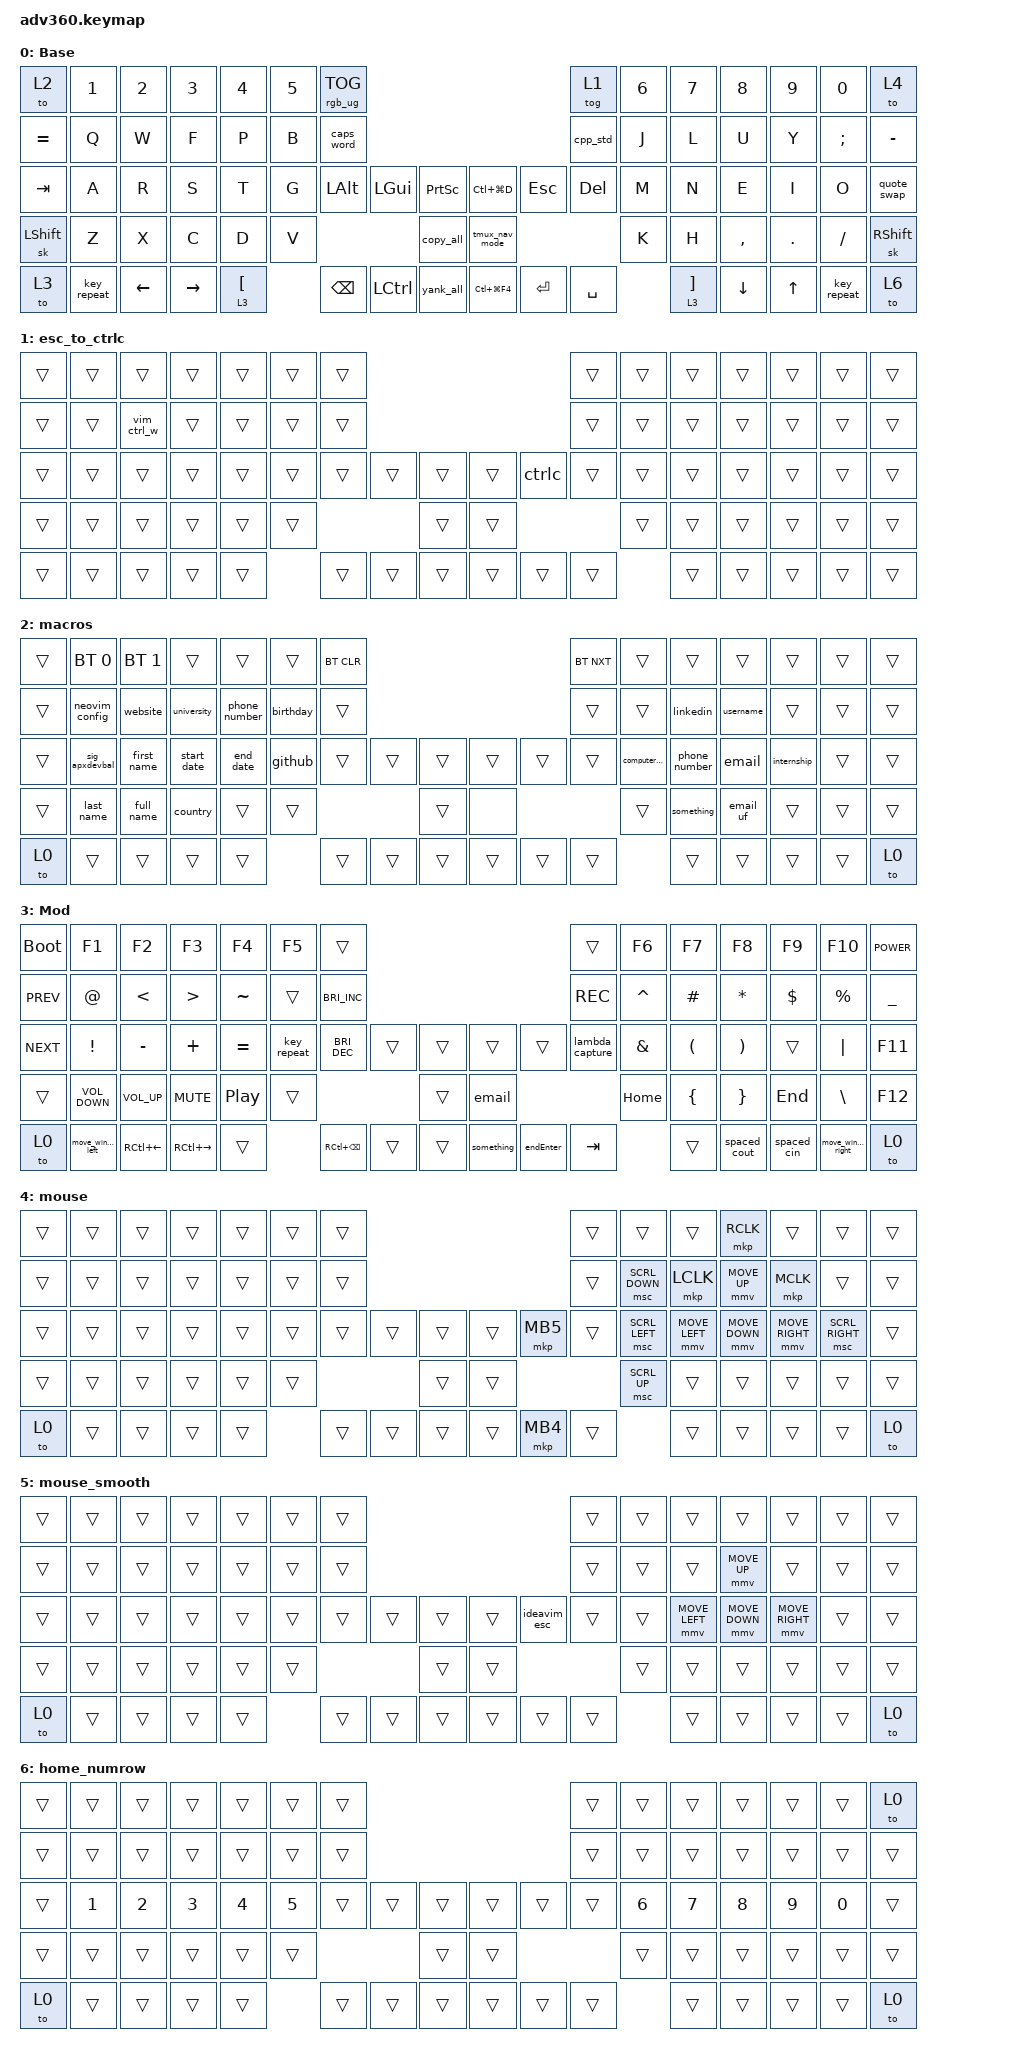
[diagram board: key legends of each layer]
#include <dt-bindings/zmk/stp.h>
#include <behaviors.dtsi>
#include <dt-bindings/zmk/bt.h>
#include <dt-bindings/zmk/keys.h>
#include <dt-bindings/zmk/pointing.h>
#include <dt-bindings/zmk/rgb.h>

/ {
    behaviors {
        #include "macros.dtsi"
      #include "version.dtsi"

        layertapLeftBracket: layertapLeftBracket {
            compatible = "zmk,behavior-hold-tap";
            label = "LAYERTAPLEFTBRACKET";
            #binding-cells = <2>;
            tapping-term-ms = <120>;
            flavor = "hold-preferred";
            bindings = <&mo>, <&kp>;

            hold-trigger-key-positions = <23 24 25 26 40 41 42 44 55 56 58 70 69 38 22 37 38 53 68 69 72 73 27 45 59 57 39 54>;
        };

        quote_swap: quote_swap {
            compatible = "zmk,behavior-mod-morph";
            label = "QUOTE_SWAP";
            bindings = <&kp DOUBLE_QUOTES>, <&kp SQT>;

            #binding-cells = <0>;
            mods = <(MOD_LSFT|MOD_RSFT)>;
        };

        layertapRightBracket: layertapRightBracket {
            compatible = "zmk,behavior-hold-tap";
            label = "LAYERTAPRIGHTBRACKET";
            #binding-cells = <2>;
            tapping-term-ms = <120>;
            flavor = "hold-preferred";
            bindings = <&mo>, <&kp>;

            hold-trigger-key-positions = <65 15 16 17 18 19 29 30 31 32 33 47 48 49 50 51 35 66 35 36 52 66 67 62 14 15 16 17 18 19 28 29 30 31 32 33 35 36 46 47 48 49 50 51 52 62 65 66 67 63 61 64>;
        };

        layer_tap_ctrl_enter: layer_tap_ctrl_enter {
            compatible = "zmk,behavior-hold-tap";
            label = "LAYER_TAP_CTRL_ENTER";
            #binding-cells = <2>;
            tapping-term-ms = <120>;
            flavor = "hold-preferred";
            bindings = <&kp>, <&kp>;

            hold-trigger-key-positions = <65 15 16 17 18 19 29 30 31 32 33 47 48 49 50 51 35 66 35 36 52 66 67 62 14 15 16 17 18 19 28 29 30 31 32 33 35 36 46 47 48 49 50 51 52 62 65 66 67 63 61 64>;
        };

        n_morphed: n_morphed {
            compatible = "zmk,behavior-mod-morph";
            label = "N_MORPHED";
            bindings = <&kp N>, <&tmux_left>;

            #binding-cells = <0>;
            mods = <(MOD_LGUI|MOD_RGUI)>;
        };

        e_morphed: e_morphed {
            compatible = "zmk,behavior-mod-morph";
            label = "E_MORPHED";
            bindings = <&kp E>, <&tmux_right>;

            #binding-cells = <0>;
            mods = <(MOD_LGUI|MOD_RGUI)>;
        };

        vim_ctrl_w: vim_ctrl_w {
            compatible = "zmk,behavior-mod-morph";
            label = "VIM_CTRL_W";
            bindings = <&kp W>, <&kp LC(BACKSPACE)>;

            #binding-cells = <0>;
            mods = <(MOD_LCTL|MOD_RCTL)>;
        };
    };

    macros {
        alttab: alttab {
            compatible = "zmk,behavior-macro";
            #binding-cells = <0>;
            bindings =
                <&macro_press>,
                <&kp LEFT_ALT>,
                <&macro_tap>,
                <&kp TAB>,
                <&macro_release>,
                <&kp LEFT_ALT>;

            label = "ALTTAB";
        };

        powertoys: powertoys {
            compatible = "zmk,behavior-macro";
            #binding-cells = <0>;
            bindings =
                <&macro_press>,
                <&kp LEFT_ALT &kp RIGHT_WIN &kp SPACE>,
                <&macro_release>,
                <&kp LEFT_ALT &kp RIGHT_WIN &kp SPACE>;

            label = "POWERTOYS";
        };

        email: email {
            compatible = "zmk,behavior-macro";
            #binding-cells = <0>;
            bindings =
                <&macro_tap>,
                <&kp R &kp I &kp C &kp K &kp Y &kp Z &kp H &kp A &kp N &kp G &kp N1 &kp N9 &kp N6 &kp AT &kp O &kp U &kp T &kp L &kp O &kp O &kp K &kp DOT &kp C &kp O &kp M>;

            label = "EMAIL";
        };

        yank_all: copyall {
            compatible = "zmk,behavior-macro";
            #binding-cells = <0>;
            bindings = <&kp G &kp O &kp LS(V) &kp LS(G)>;
            label = "COPYALL";
        };

        printscreen: printscreen {
            compatible = "zmk,behavior-macro";
            #binding-cells = <0>;
            bindings = <&macro_tap>, <&kp PRINTSCREEN>;

            label = "PRINTSCREEN";
        };

        linkedin: linkedin {
            compatible = "zmk,behavior-macro";
            #binding-cells = <0>;
            bindings = <&kp H &kp T &kp T &kp P &kp S &kp COLON &kp FSLH &kp FSLH &kp W &kp W &kp W &kp DOT &kp L &kp I &kp N &kp K &kp E &kp D &kp I &kp N &kp DOT &kp C &kp O &kp M &kp FSLH &kp I &kp N &kp FSLH &kp T &kp H &kp E &kp R &kp I &kp C &kp K &kp Y &kp Z &kp H &kp A &kp N &kp G &kp FSLH>;
            label = "LINKEDIN";
        };

        university: university {
            compatible = "zmk,behavior-macro";
            #binding-cells = <0>;
            bindings = <&kp LS(U) &kp N &kp I &kp V &kp E &kp R &kp S &kp I &kp T &kp Y &kp SPACE &kp O &kp F &kp SPACE &kp LS(F) &kp L &kp O &kp R &kp I &kp D &kp A>;
            label = "UNIVERSITY";
        };

        github: github {
            compatible = "zmk,behavior-macro";
            #binding-cells = <0>;
            bindings = <&kp H &kp T &kp T &kp P &kp S &kp COLON &kp FSLH &kp FSLH &kp G &kp I &kp T &kp H &kp U &kp B &kp DOT &kp C &kp O &kp M &kp FSLH &kp T &kp H &kp E &kp R &kp I &kp C &kp K &kp Y &kp Z &kp H &kp A &kp N &kp G>;
            label = "GITHUB";
        };

        full_name: full_name {
            compatible = "zmk,behavior-macro";
            #binding-cells = <0>;
            bindings = <&kp LS(R) &kp I &kp C &kp K &kp Y &kp SPACE &kp LS(Z) &kp H &kp A &kp N &kp G>;
            label = "FULL_NAME";
        };

        first_name: first_name {
            compatible = "zmk,behavior-macro";
            #binding-cells = <0>;
            bindings = <&kp LS(R) &kp I &kp C &kp K &kp Y>;
            label = "FIRST_NAME";
        };

        last_name: last_name {
            compatible = "zmk,behavior-macro";
            #binding-cells = <0>;
            bindings = <&kp LS(Z) &kp H &kp A &kp N &kp G>;
            label = "LAST_NAME";
        };

        start_date: start_date {
            compatible = "zmk,behavior-macro";
            #binding-cells = <0>;
            bindings = <&kp N0 &kp N8 &kp FSLH &kp N2 &kp N0 &kp N2 &kp N3>;
            label = "START_DATE";
        };

        end_date: end_date {
            compatible = "zmk,behavior-macro";
            #binding-cells = <0>;
            bindings = <&kp N0 &kp N5 &kp FSLH &kp N2 &kp N0 &kp N2 &kp N7>;
            label = "END_DATE";
        };

        website: website {
            compatible = "zmk,behavior-macro";
            #binding-cells = <0>;
            bindings = <&kp H &kp T &kp T &kp P &kp S &kp COLON &kp FSLH &kp FSLH &kp T &kp H &kp E &kp R &kp I &kp C &kp K &kp Y &kp Z &kp H &kp A &kp N &kp G &kp DOT &kp C &kp O &kp M>;
            label = "WEBSITE";
        };

        cpp_template: cpp_template {
            compatible = "zmk,behavior-macro";
            #binding-cells = <0>;
            bindings = <&kp POUND &kp D &kp E &kp F &kp I &kp N &kp E &kp SPACE &kp F &kp LPAR &kp I &kp COMMA &kp SPACE &kp N &kp RPAR &kp SPACE &kp F &kp O &kp R &kp LPAR &kp I &kp N &kp T &kp SPACE &kp I &kp SPACE &kp EQUAL &kp SPACE &kp N0 &kp SEMI &kp SPACE &kp I &kp SPACE &kp LT &kp SPACE &kp N &kp SEMI &kp SPACE &kp I &kp PLUS &kp PLUS &kp RPAR &kp RET &kp T &kp E &kp M &kp P &kp L &kp A &kp T &kp E &kp LT &kp T &kp Y &kp P &kp E &kp N &kp A &kp M &kp E &kp SPACE &kp LS(T) &kp GT &kp SPACE &kp U &kp S &kp I &kp N &kp G &kp SPACE &kp V &kp SPACE &kp EQUAL &kp SPACE &kp V &kp E &kp C &kp T &kp O &kp R &kp LT &kp LS(T) &kp GT &kp SEMI &kp RET &kp U &kp S &kp I &kp N &kp G &kp SPACE &kp L &kp L &kp SPACE &kp EQUAL &kp SPACE &kp L &kp O &kp N &kp G &kp SPACE &kp L &kp O &kp N &kp G &kp SEMI &kp RET &kp U &kp S &kp I &kp N &kp G &kp SPACE &kp P &kp I &kp I &kp SPACE &kp EQUAL &kp SPACE &kp P &kp A &kp I &kp R &kp LT &kp I &kp N &kp T &kp COMMA &kp I &kp N &kp T &kp GT &kp SEMI &kp RET &kp U &kp S &kp I &kp N &kp G &kp SPACE &kp S &kp T &kp R &kp SPACE &kp EQUAL &kp SPACE &kp S &kp T &kp R &kp I &kp N &kp G &kp SEMI>;
            label = "CPP_TEMPLATE";
        };

        neovim_config: neovim_config {
            compatible = "zmk,behavior-macro";
            #binding-cells = <0>;
            bindings = <&kp TILDE &kp FSLH &kp DOT &kp C &kp O &kp N &kp F &kp I &kp G &kp FSLH &kp N &kp V &kp I &kp M &kp FSLH &kp L &kp U &kp A>;
            label = "NEOVIM_CONFIG";
        };

        something: something {
            compatible = "zmk,behavior-macro";
            #binding-cells = <0>;
            bindings = <&kp LS(H) &kp Y &kp P &kp E &kp R &kp I &kp O &kp S &kp N1 &kp N9 &kp N6 &kp DLLR>;
            label = "SOMETHING";
        };

        computerscience: computerscience {
            compatible = "zmk,behavior-macro";
            #binding-cells = <0>;
            bindings = <&kp LS(C) &kp O &kp M &kp P &kp U &kp T &kp E &kp R &kp SPACE &kp LS(S) &kp C &kp I &kp E &kp N &kp C &kp E>;
            label = "COMPUTERSCIENCE";
        };

        ctrlc: ctrlc {
            compatible = "zmk,behavior-macro";
            #binding-cells = <0>;
            bindings =
                <&macro_press>,
                <&kp LCTRL>,
                <&macro_tap>,
                <&kp C>,
                <&macro_release>,
                <&kp LCTRL>;

            label = "CTRLC";
        };

        endEnter: endEnter {
            compatible = "zmk,behavior-macro";
            #binding-cells = <0>;
            bindings = <&none>;
            label = "ENDENTER";
        };

        playMacro: defaultMacro {
            compatible = "zmk,behavior-macro";
            #binding-cells = <0>;
            bindings = <&kp AT &kp P>;
            label = "DEFAULTMACRO";
        };

        username: username {
            compatible = "zmk,behavior-macro";
            #binding-cells = <0>;
            bindings = <&kp LS(T) &kp H &kp E &kp LS(R) &kp I &kp C &kp K &kp Y &kp LS(Z) &kp H &kp A &kp N &kp G>;
            label = "USERNAME";
        };

        somethingagain: somethingagain {
            compatible = "zmk,behavior-macro";
            #binding-cells = <0>;
            bindings = <&kp LS(V) &kp N1 &kp P &kp N3 &kp R &kp N6 &kp N9 &kp N1 &kp DLLR>;
            label = "SOMETHINGAGAIN";
        };

        recordMacro: recordMacro {
            compatible = "zmk,behavior-macro";
            #binding-cells = <0>;
            bindings = <&kp Q &kp P>;
            label = "RECORDMACRO";
        };

        birthday: birthday {
            compatible = "zmk,behavior-macro";
            #binding-cells = <0>;
            bindings = <&kp N0 &kp N2 &kp FSLH &kp N0 &kp N9 &kp FSLH &kp N2 &kp N0 &kp N0 &kp N5>;
            label = "BIRTHDAY";
        };

        internship: internship {
            compatible = "zmk,behavior-macro";
            #binding-cells = <0>;
            bindings = <&kp LS(S) &kp U &kp S &kp Q &kp U &kp E &kp H &kp A &kp N &kp N &kp A &kp SPACE &kp LS(I) &kp N &kp T &kp E &kp R &kp N &kp A &kp T &kp I &kp O &kp N &kp A &kp L &kp SPACE &kp LS(G) &kp R &kp O &kp U &kp P>;
            label = "INTERNSHIP";
        };

        phone_number: phone_number {
            compatible = "zmk,behavior-macro";
            #binding-cells = <0>;
            bindings = <&kp N9 &kp N0 &kp N4 &kp N3 &kp N4 &kp N2 &kp N9 &kp N1 &kp N7 &kp N0>;
            label = "PHONE_NUMBER";
        };

        country: country {
            compatible = "zmk,behavior-macro";
            #binding-cells = <0>;
            bindings = <&kp LS(U) &kp N &kp I &kp T &kp E &kp D &kp SPACE &kp LS(S) &kp T &kp A &kp T &kp E &kp S>;
            label = "COUNTRY";
        };

        ideavim_esc: ideavim_esc {
            compatible = "zmk,behavior-macro";
            #binding-cells = <0>;
            bindings =
                <&macro_press>,
                <&kp LCTRL>,
                <&macro_tap>,
                <&kp C>,
                <&macro_release>,
                <&kp LCTRL>,
                <&macro_wait_time 120>,
                <&kp ESCAPE>;

            label = "IDEAVIM_ESC";
        };

        tmux_nav_mode: tmux_nav_mode {
            compatible = "zmk,behavior-macro";
            #binding-cells = <0>;
            bindings =
                <&macro_press>,
                <&kp LCTRL &kp SPACE>,
                <&macro_release>,
                <&kp LCTRL &kp SPACE>,
                <&macro_tap>,
                <&kp LEFT_BRACKET>;

            label = "TMUX_NAV_MODE";
        };

        email_uf: email_uf {
            compatible = "zmk,behavior-macro";
            #binding-cells = <0>;
            bindings =
                <&macro_tap>,
                <&kp R &kp I &kp C &kp K &kp Y &kp Z &kp H &kp A &kp N &kp G &kp AT &kp U &kp F &kp L &kp DOT &kp E &kp D &kp U>;

            label = "EMAIL_UF";
        };

        lambda_capture: lambda_capture {
            compatible = "zmk,behavior-macro";
            #binding-cells = <0>;
            bindings = <&kp LEFT_BRACKET &kp AMPS &kp RBKT>;
            label = "LAMBDA_CAPTURE";
        };

        spaced_cin: mouse_back {
            compatible = "zmk,behavior-macro";
            #binding-cells = <0>;
            bindings = <&kp SPACE &kp GT &kp GT &kp SPACE>;
            label = "MOUSE_BACK";
        };

        spaced_cout: spaced_cout {
            compatible = "zmk,behavior-macro";
            #binding-cells = <0>;
            bindings = <&kp SPACE &kp LT &kp LT &kp SPACE>;
            label = "SPACED_COUT";
        };

        move_window_right: move_screen_right {
            compatible = "zmk,behavior-macro";
            #binding-cells = <0>;
            bindings =
                <&macro_press>,
                <&kp LEFT_WIN &kp LEFT_SHIFT &kp RIGHT>,
                <&macro_release>,
                <&kp LGUI &kp LEFT_SHIFT &kp RIGHT>;

            label = "MOVE_SCREEN_RIGHT";
        };

        move_window_left: move_window_right {
            compatible = "zmk,behavior-macro";
            #binding-cells = <0>;
            bindings =
                <&macro_press>,
                <&kp LEFT_WIN &kp LEFT_SHIFT &kp LEFT>,
                <&macro_release>,
                <&kp LGUI &kp LEFT_SHIFT &kp LEFT>;

            label = "MOVE_WINDOW_RIGHT";
        };

        omarchy_alt_tab: omarchy_alt_tab {
            compatible = "zmk,behavior-macro";
            #binding-cells = <0>;
            bindings =
                <&macro_press>,
                <&kp LEFT_WIN &kp LCTRL>,
                <&macro_tap>,
                <&kp TAB>,
                <&macro_release>,
                <&kp LEFT_WIN &kp LCTRL>;

            label = "OMARCHY_ALT_TAB";
        };

        cpp_std: cpp_std {
            compatible = "zmk,behavior-macro";
            #binding-cells = <0>;
            bindings = <&kp S &kp T &kp D &kp COLON &kp COLON>;
            label = "CPP_STD";
        };

        copy_all: copy {
            compatible = "zmk,behavior-macro";
            #binding-cells = <0>;
            bindings =
                <&macro_press>,
                <&kp LCTRL>,
                <&macro_tap>,
                <&kp A &kp C>,
                <&macro_release>,
                <&kp LCTRL>,
                <&macro_press>;

            label = "COPY";
        };

        paste: paste {
            compatible = "zmk,behavior-macro";
            #binding-cells = <0>;
            bindings =
                <&macro_press>,
                <&kp LCTRL &kp LSHIFT>,
                <&macro_tap>,
                <&kp V>,
                <&macro_release>,
                <&kp LCTRL &kp LSHIFT>;

            label = "PASTE";
        };

        sig_apxdevbal: sig_apxdevbal {
            compatible = "zmk,behavior-macro";
            #binding-cells = <0>;
            bindings = <&kp Z &kp H &kp A &kp N &kp G &kp R &kp I &kp AT &kp A &kp P &kp X &kp D &kp E &kp V &kp B &kp A &kp L &kp N9 &kp N3 &kp N4 &kp N0>;
            label = "SIG_APXDEVBAL";
        };

        tmux_left: tmux_left {
            compatible = "zmk,behavior-macro";
            #binding-cells = <0>;
            bindings =
                <&macro_tap>,
                <&kp LCTRL>,
                <&macro_release>,
                <&kp SPACE &kp LEFT>;

            label = "TMUX_LEFT";
        };

        tmux_right: tmux_right {
            compatible = "zmk,behavior-macro";
            #binding-cells = <0>;
            bindings =
                <&macro_tap>,
                <&kp LCTRL>,
                <&macro_release>,
                <&kp SPACE &kp RIGHT>;

            label = "TMUX_RIGHT";
        };
    };

    combos {
        compatible = "zmk,combos";

        key_repeat_left {
            bindings = <&key_repeat>;
            key-positions = <>;
        };

        layer2 {
            bindings = <&mo 2>;
            key-positions = <46 59>;
        };

        key_repeat_right {
            bindings = <&key_repeat>;
            key-positions = <>;
        };

        backtick {
            bindings = <&kp GRAVE>;
            key-positions = <55 56>;
            layers = <0>;
        };

        layer-mouse {
            bindings = <&mo 4>;
            key-positions = <48 50>;
        };

        quick-tab-switch {
            bindings = <&omarchy_alt_tab>;
            key-positions = <17 18>;
        };

        omarchy-switch-window {
            bindings = <&alttab>;
            key-positions = <16 17>;
        };

        win-left-workspace {
            bindings = <&kp LG(LC(LEFT))>;
            key-positions = <35 41>;
        };

        win_right_workspace {
            bindings = <&kp LG(LC(RIGHT))>;
            key-positions = <35 42>;
        };

        vscode {
            bindings = <&kp F5>;
            key-positions = <18 16>;
        };
    };

    keymap {
        compatible = "zmk,keymap";

        default_layer {
            display-name = "Base";
            bindings = <
&to 2      &kp N1       &kp N2    &kp N3     &kp N4                               &kp N5  &rgb_ug RGB_TOG                                                              &tog 1     &kp N6  &kp N7                                 &kp N8     &kp N9        &kp N0         &to 4
&kp EQUAL  &kp Q        &kp W     &kp F      &kp P                                &kp B   &caps_word                                                                   &cpp_std   &kp J   &kp L                                  &kp U      &kp Y         &kp SEMICOLON  &kp MINUS
&kp TAB    &kp A        &kp R     &kp S      &kp T                                &kp G   &kp LEFT_ALT     &kp LGUI   &kp PRINTSCREEN      &kp LC(LG(D))   &kp ESCAPE  &kp DEL    &kp M   &kp N                                  &kp E      &kp I         &kp O          &quote_swap
&sk LSHFT  &kp Z        &kp X     &kp C      &kp D                                &kp V                               &copy_all            &tmux_nav_mode                         &kp K   &kp H                                  &kp COMMA  &kp DOT       &kp FSLH       &sk RSHFT
&to 3      &key_repeat  &kp LEFT  &kp RIGHT  &layertapLeftBracket 3 LEFT_BRACKET          &kp BACKSPACE    &kp LCTRL  &yank_all            &kp LC(LG(F4))  &kp ENTER   &kp SPACE          &layertapRightBracket 3 RIGHT_BRACKET  &kp DOWN   &kp UP_ARROW  &key_repeat    &to 6
            >;
        };

        esc_to_ctrlc {
            bindings = <
&trans  &trans  &trans       &trans  &trans  &trans  &trans                                      &trans  &trans  &trans  &trans  &trans  &trans  &trans
&trans  &trans  &vim_ctrl_w  &trans  &trans  &trans  &trans                                      &trans  &trans  &trans  &trans  &trans  &trans  &trans
&trans  &trans  &trans       &trans  &trans  &trans  &trans  &trans  &trans      &trans  &ctrlc  &trans  &trans  &trans  &trans  &trans  &trans  &trans
&trans  &trans  &trans       &trans  &trans  &trans                  &trans      &trans                  &trans  &trans  &trans  &trans  &trans  &trans
&trans  &trans  &trans       &trans  &trans          &trans  &trans  &trans      &trans  &trans  &trans          &trans  &trans  &trans  &trans  &trans
            >;
        };

        macros {
            bindings = <
&trans  &bt BT_SEL 0    &bt BT_SEL 1  &trans       &trans         &trans     &bt BT_CLR                                      &bt BT_NXT  &trans            &trans         &trans     &trans       &trans  &trans
&trans  &neovim_config  &website      &university  &phone_number  &birthday  &trans                                          &trans      &trans            &linkedin      &username  &trans       &trans  &trans
&trans  &sig_apxdevbal  &first_name   &start_date  &end_date      &github    &trans      &trans  &trans      &trans  &trans  &trans      &computerscience  &phone_number  &email     &internship  &trans  &trans
&trans  &last_name      &full_name    &country     &trans         &trans                         &trans      &none                       &trans            &something     &email_uf  &trans       &trans  &trans
&to 0   &trans          &trans        &trans       &trans                    &trans      &trans  &trans      &trans  &trans  &trans                        &trans         &trans     &trans       &trans  &to 0
            >;
        };

        mod {
            display-name = "Mod";
            bindings = <
&bootloader  &kp F1             &kp F2           &kp F3            &kp F4     &kp F5       &trans                                                           &trans           &kp F6         &kp F7                &kp F8                 &kp F9       &kp F10             &kp C_POWER
&kp C_PREV   &kp AT             &kp LESS_THAN    &kp GREATER_THAN  &kp TILDE  &trans       &kp C_BRIGHTNESS_INC                                             &kp C_REC        &kp CARET      &kp HASH              &kp ASTERISK           &kp DOLLAR   &kp PERCENT         &kp UNDERSCORE
&kp C_NEXT   &kp EXCLAMATION    &kp MINUS        &kp PLUS          &kp EQUAL  &key_repeat  &kp C_BRI_DEC         &trans  &trans      &trans      &trans     &lambda_capture  &kp AMPERSAND  &kp LEFT_PARENTHESIS  &kp RIGHT_PARENTHESIS  &trans       &kp PIPE            &kp F11
&trans       &kp C_VOLUME_DOWN  &kp C_VOLUME_UP  &kp C_MUTE        &kp C_PP   &trans                                     &trans      &email                                  &kp HOME       &kp LEFT_BRACE        &kp RIGHT_BRACE        &kp END      &kp BACKSLASH       &kp F12
&to 0        &move_window_left  &kp RC(LEFT)     &kp RC(RIGHT)     &trans                  &kp RC(BACKSPACE)     &trans  &trans      &something  &endEnter  &kp TAB                         &trans                &spaced_cout           &spaced_cin  &move_window_right  &to 0
            >;
        };

        mouse {
            bindings = <
&trans  &trans  &trans  &trans  &trans  &trans  &trans                                        &trans  &trans          &trans          &mkp RCLK       &trans           &trans           &trans
&trans  &trans  &trans  &trans  &trans  &trans  &trans                                        &trans  &msc SCRL_DOWN  &mkp LCLK       &mmv MOVE_UP    &mkp MCLK        &trans           &trans
&trans  &trans  &trans  &trans  &trans  &trans  &trans  &trans  &trans      &trans  &mkp MB5  &trans  &msc SCRL_LEFT  &mmv MOVE_LEFT  &mmv MOVE_DOWN  &mmv MOVE_RIGHT  &msc SCRL_RIGHT  &trans
&trans  &trans  &trans  &trans  &trans  &trans                  &trans      &trans                    &msc SCRL_UP    &trans          &trans          &trans           &trans           &trans
&to 0   &trans  &trans  &trans  &trans          &trans  &trans  &trans      &trans  &mkp MB4  &trans                  &trans          &trans          &trans           &trans           &to 0
            >;
        };

        mouse_smooth {
            bindings = <
&trans  &trans  &trans  &trans  &trans  &trans  &trans                                            &trans  &trans  &trans          &trans          &trans           &trans  &trans
&trans  &trans  &trans  &trans  &trans  &trans  &trans                                            &trans  &trans  &trans          &mmv MOVE_UP    &trans           &trans  &trans
&trans  &trans  &trans  &trans  &trans  &trans  &trans  &trans  &trans      &trans  &ideavim_esc  &trans  &trans  &mmv MOVE_LEFT  &mmv MOVE_DOWN  &mmv MOVE_RIGHT  &trans  &trans
&trans  &trans  &trans  &trans  &trans  &trans                  &trans      &trans                        &trans  &trans          &trans          &trans           &trans  &trans
&to 0   &trans  &trans  &trans  &trans          &trans  &trans  &trans      &trans  &trans        &trans          &trans          &trans          &trans           &trans  &to 0
            >;
        };

        home_numrow {
            bindings = <
&trans  &trans        &trans        &trans        &trans        &trans  &trans                                      &trans  &trans        &trans  &trans  &trans  &trans  &to 0
&trans  &trans        &trans        &trans        &trans        &trans  &trans                                      &trans  &trans        &trans  &trans  &trans  &trans  &trans
&trans  &kp NUMBER_1  &kp NUMBER_2  &kp NUMBER_3  &kp NUMBER_4  &kp N5  &trans  &trans  &trans      &trans  &trans  &trans  &kp NUMBER_6  &kp N7  &kp N8  &kp N9  &kp N0  &trans
&trans  &trans        &trans        &trans        &trans        &trans                  &trans      &trans                  &trans        &trans  &trans  &trans  &trans  &trans
&to 0   &trans        &trans        &trans        &trans                &trans  &trans  &trans      &trans  &trans  &trans                &trans  &trans  &trans  &trans  &to 0
            >;
        };
    };
};
